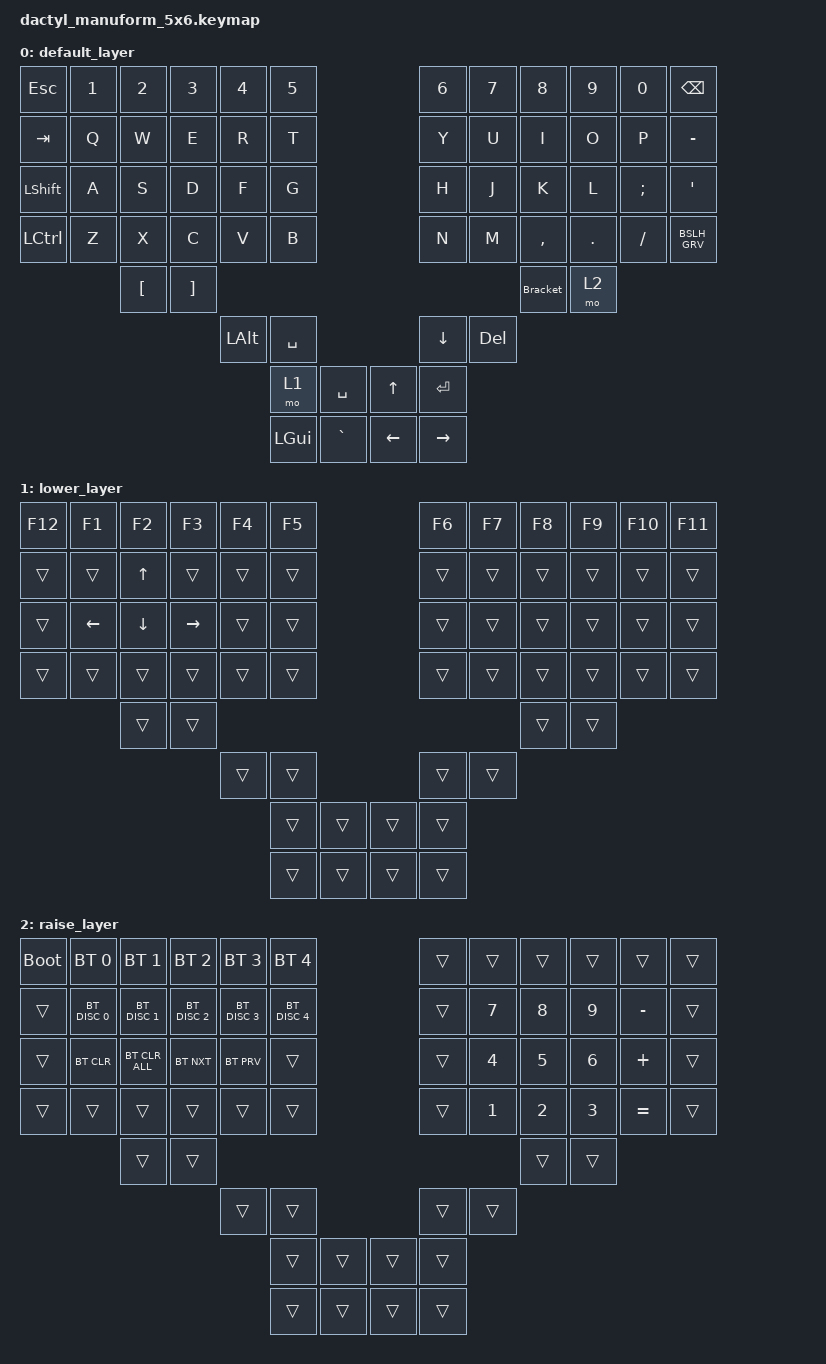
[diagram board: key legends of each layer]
#include <behaviors.dtsi>
#include <dt-bindings/zmk/bt.h>
#include <dt-bindings/zmk/keys.h>

#define DEFAULT 0
#define LWR 1
#define RSE 2
#define ADJ 3

/ {
    behaviors {
        F2_F5: F2_F5 {
            compatible = "zmk,behavior-tap-dance";
            label = "F2_F5";
            #binding-cells = <0>;
            bindings = <&kp F2>, <&kp F5>;
        };

        Bracket: Bracket {
            compatible = "zmk,behavior-tap-dance";
            label = "BRACKET";
            #binding-cells = <0>;
            bindings = <&kp LBKT>, <&kp RBKT>;
        };

        DMP: DMP {
            compatible = "zmk,behavior-tap-dance";
            label = "DMP";
            #binding-cells = <0>;
            bindings = <&kp C_VOL_DN>, <&kp C_MUTE>, <&kp C_PREVIOUS>;
        };

        UPN: UPN {
            compatible = "zmk,behavior-tap-dance";
            label = "UPN";
            #binding-cells = <0>;
            bindings = <&kp C_VOLUME_UP>, <&kp C_PLAY_PAUSE>, <&kp C_NEXT>;
        };

        BSLH_GRV: BSLH_GRV {
            compatible = "zmk,behavior-tap-dance";
            label = "BSLH_GRV";
            #binding-cells = <0>;
            bindings = <&kp BSLH>, <&kp GRAVE>;
        };
    };

    combos { compatible = "zmk,combos"; };

    keymap {
        compatible = "zmk,keymap";

        default_layer {
            bindings = <
&kp ESC  &kp N1  &kp N2            &kp N3             &kp N4     &kp N5                                             &kp N6     &kp N7         &kp N8     &kp N9     &kp N0     &kp BACKSPACE
&kp TAB    &kp Q   &kp W             &kp E              &kp R      &kp T                                              &kp Y      &kp U          &kp I      &kp O      &kp P      &kp MINUS
&kp LSHFT  &kp A   &kp S             &kp D              &kp F      &kp G                                              &kp H      &kp J          &kp K      &kp L      &kp SEMI   &kp SQT
&kp LCTRL  &kp Z   &kp X             &kp C              &kp V      &kp B                                              &kp N      &kp M          &kp COMMA  &kp DOT    &kp SLASH  &BSLH_GRV
                   &kp LEFT_BRACKET  &kp RIGHT_BRACKET                                                                                          &Bracket   &mo 2
                                                        &kp LALT  &kp SPACE                                     &kp DOWN    &kp DEL
                                                                   &mo 1 &kp SPACE  &kp UP_ARROW                &kp RET
                                                                   &kp LEFT_GUI        &kp GRAVE               &kp LEFT      &kp RIGHT
            >;
        };

        lower_layer {
            bindings = <
&kp F12  &kp F1  &kp F2  &kp F3  &kp F4  &kp F5                  &kp F6  &kp F7    &kp F8    &kp F9  &kp F10    &kp F11
&trans   &trans  &kp UP   &trans  &trans  &trans                  &trans  &trans    &trans    &trans  &trans     &trans
&trans   &kp LEFT  &kp DOWN  &kp RIGHT  &trans  &trans            &trans  &trans  &trans  &trans  &trans  &trans
&trans   &trans  &trans  &trans  &trans  &trans                  &trans  &trans    &trans    &trans  &trans     &trans
                 &trans  &trans                                                    &trans    &trans
                                 &trans  &trans                  &trans  &trans
                                         &trans  &trans  &trans  &trans
                                         &trans  &trans  &trans  &trans
            >;
        };

        raise_layer {
            bindings = <
&bootloader  &bt BT_SEL 0   &bt BT_SEL 1    &bt BT_SEL 2   &bt BT_SEL 3   &bt BT_SEL 4                   &trans  &trans  &trans  &trans  &trans            &trans
&trans       &bt BT_DISC 0  &bt BT_DISC 1   &bt BT_DISC 2  &bt BT_DISC 3  &bt BT_DISC 4                  &trans  &kp N7 &kp N8 &kp N9 &kp MINUS  &trans
&trans       &bt BT_CLR     &bt BT_CLR_ALL  &bt BT_NXT     &bt BT_PRV     &trans                         &trans  &kp N4 &kp N5 &kp N6 &kp PLUS        &trans
&trans       &trans         &trans          &trans         &trans         &trans                         &trans  &kp N1 &kp N2 &kp N3 &kp EQUAL &trans
                            &trans          &trans                                                                       &trans  &trans
                                                           &trans         &trans                         &trans  &trans
                                                                          &trans         &trans  &trans  &trans
                                                                          &trans         &trans  &trans  &trans
            >;
        };
    };
};
